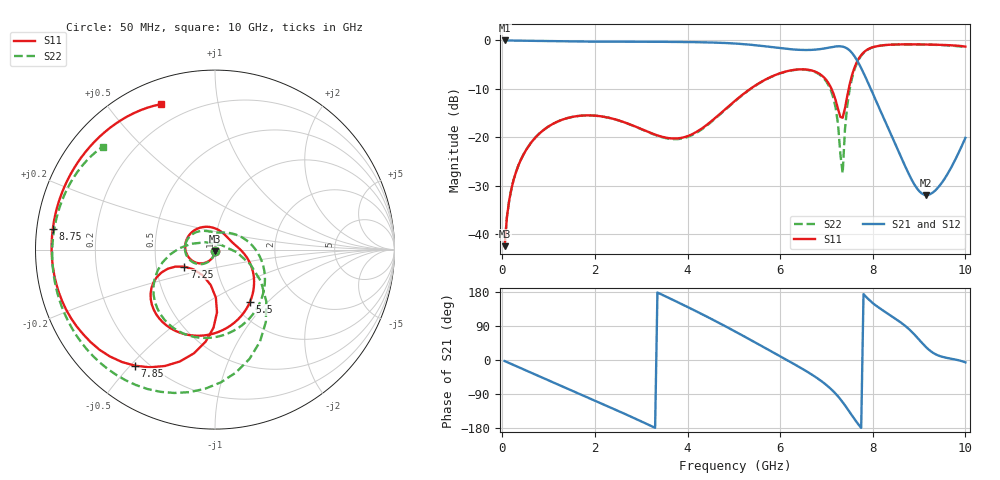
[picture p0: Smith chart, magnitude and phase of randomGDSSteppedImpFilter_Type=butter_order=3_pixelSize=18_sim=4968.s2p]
! freq	dB(S11)	phase(S11)	dB(S12)	phase(S12)
!  dB(S21)	phase(S21)	dB(S22)	phase(S22)
!S-par simulation data
#  GHz  S  DB  R 50
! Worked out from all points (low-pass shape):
!   200 points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, 50 MHz to 10 GHz, reference 50 ohm
!   highest |S21| = 0.00 dB at 50 MHz (marker M1); lowest = -31.9 dB at 9.15 GHz (marker M2)
!   |S21| within 3 dB of the highest: start of sweep to 7.585 GHz
!   lowest |S11| = -42.5 dB at 50 MHz (marker M3), VSWR 1.02, Z = 50 - j0.748 ohm
!   |S11| at or under -10 dB: start of sweep to 5.357 GHz; 7.108 GHz to 7.481 GHz (372.4 MHz wide, 5.11 % of centre)
!   |S22| runs from -42.5 to -0.8 dB; largest |S21 - S12| = 0
!   S11 on the Smith chart (normalised r, x): 50 MHz: 1.00, -0.01; 5.5 GHz: 1.19, -0.80; 7.25 GHz: 0.70, -0.14; 7.85 GHz: 0.15, -0.52; 8.75 GHz: 0.05, +0.06; 10 GHz: 0.11, +0.69
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0.05  -42.51 -92.3  -0.00 -2.7  -0.00 -2.7  -42.51 -92.1
0.2  -30.53 -101.1  -0.02 -10.9  -0.02 -10.9  -30.52 -100.4
0.5  -22.87 -118.2  -0.06 -27.0  -0.06 -27.0  -22.86 -116.4
1.15  -16.96 -154.6  -0.16 -61.7  -0.16 -61.7  -16.96 -150.2
1.75  -15.51 171.5  -0.23 -93.6  -0.23 -93.6  -15.51 179.6
2.7  -17.14 114.0  -0.26 -145.2  -0.26 -145.2  -17.16 133.9
3.4  -19.77 65.2  -0.28 175.2  -0.28 175.2  -19.86 102.8
4.35  -17.91 6.2  -0.39 118.6  -0.39 118.6  -18.08 47.4
5.05  -12.27 -30.0  -0.65 73.8  -0.65 73.8  -12.35 -5.2
5.5  -9.09 -56.4  -1.02 43.7  -1.02 43.7  -9.13 -38.3
6.1  -6.47 -93.8  -1.69 3.0  -1.69 3.0  -6.51 -81.2
6.7  -6.25 -132.4  -1.94 -39.8  -1.94 -39.8  -6.35 -125.8
7.05  -8.92 -154.7  -1.49 -71.3  -1.49 -71.3  -9.35 -159.8
7.25  -14.18 -150.9  -1.21 -96.1  -1.21 -96.1  -17.33 166.2
7.35  -15.96 -114.8  -1.28 -111.3  -1.28 -111.3  -27.44 38.6
7.4  -14.01 -96.8  -1.43 -119.6  -1.43 -119.6  -18.34 -6.8
7.5  -9.11 -88.2  -2.06 -137.2  -2.06 -137.2  -10.14 -34.7
7.85  -2.10 -124.5  -7.72 167.3  -7.72 167.3  -2.19 -94.1
8.35  -0.89 -164.7  -18.48 120.1  -18.48 120.1  -0.89 -139.0
8.75  -0.81 172.6  -27.03 84.9  -27.03 84.9  -0.81 -161.9
9.15  -0.84 152.6  -31.94 34.0  -31.94 34.0  -0.86 178.7
10  -1.27 110.3  -20.14 -6.3  -20.14 -6.3  -1.43 137.4
